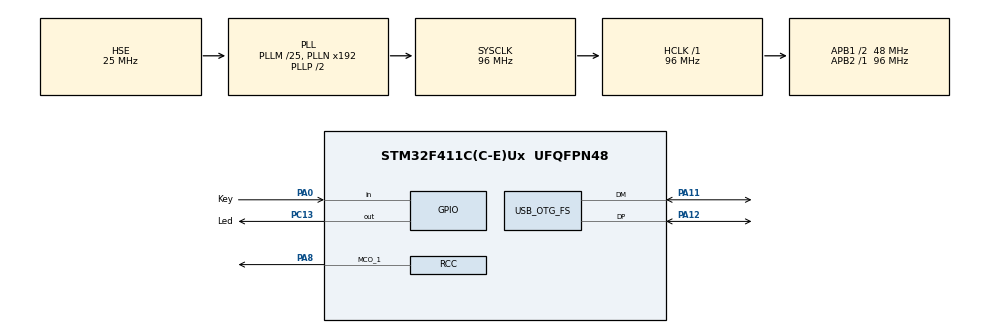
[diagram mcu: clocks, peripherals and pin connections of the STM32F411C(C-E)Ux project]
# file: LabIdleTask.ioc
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FREERTOS.Tasks01=defaultTask,0,128,StartDefaultTask,Default,NULL,Dynamic,NULL,NULL;Tarefa2,0,128,MostraContador,Default,NULL,Dynamic,NULL,NULL;Tarefa3,-1,128,MostraUnifor,Default,NULL,Dynamic,NULL,NULL
FREERTOS.configTICK_RATE_HZ=100
FREERTOS.configUSE_IDLE_HOOK=1
Mcu.Family=STM32F4
Mcu.Name=STM32F411C(C-E)Ux
Mcu.Package=UFQFPN48
NVIC.OTG_FS_IRQn=true\:5\:0\:false\:false\:true\:true\:false\:true
NVIC.PriorityGroup=NVIC_PRIORITYGROUP_4
NVIC.TIM1_TRG_COM_TIM11_IRQn=true\:0\:0\:false\:false\:true\:false\:false\:true
NVIC.TimeBase=TIM1_TRG_COM_TIM11_IRQn
NVIC.TimeBaseIP=TIM11
PA0-WKUP.GPIO_Label=Key
PA0-WKUP.GPIO_PuPd=GPIO_PULLUP
PA0-WKUP.Signal=GPIO_Input
PA11.Mode=Device_Only
PA11.Signal=USB_OTG_FS_DM
PA12.Mode=Device_Only
PA12.Signal=USB_OTG_FS_DP
PA13.Mode=Serial_Wire
PA13.Signal=SYS_JTMS-SWDIO
PA14.Mode=Serial_Wire
PA14.Signal=SYS_JTCK-SWCLK
PA8.Mode=Clock-out-1
PA8.Signal=RCC_MCO_1
PC13-ANTI_TAMP.GPIO_Label=Led
PC13-ANTI_TAMP.PinState=GPIO_PIN_SET
PC13-ANTI_TAMP.Signal=GPIO_Output
PC14-OSC32_IN.Mode=LSE-External-Oscillator
PC14-OSC32_IN.Signal=RCC_OSC32_IN
PC15-OSC32_OUT.Mode=LSE-External-Oscillator
PC15-OSC32_OUT.Signal=RCC_OSC32_OUT
PH0\ -\ OSC_IN.Mode=HSE-External-Oscillator
PH0\ -\ OSC_IN.Signal=RCC_OSC_IN
PH1\ -\ OSC_OUT.Mode=HSE-External-Oscillator
PH1\ -\ OSC_OUT.Signal=RCC_OSC_OUT
ProjectManager.HeapSize=0x800
ProjectManager.StackSize=0x400
ProjectManager.TargetToolchain=MDK-ARM V5.27
RCC.48MHZClocksFreq_Value=48000000
RCC.AHBFreq_Value=96000000
RCC.APB1CLKDivider=RCC_HCLK_DIV2
RCC.APB1Freq_Value=48000000
RCC.APB1TimFreq_Value=96000000
RCC.APB2Freq_Value=96000000
RCC.APB2TimFreq_Value=96000000
RCC.CortexFreq_Value=96000000
RCC.HCLKFreq_Value=96000000
RCC.HSE_VALUE=25000000
RCC.HSI_VALUE=16000000
RCC.PLLM=25
RCC.SYSCLKFreq_VALUE=96000000
RCC.SYSCLKSource=RCC_SYSCLKSOURCE_PLLCLK
RCC.VCOOutputFreq_Value=192000000
USB_DEVICE.CLASS_NAME_FS=CDC
USB_DEVICE.VirtualMode=Cdc
USB_DEVICE.VirtualModeFS=Cdc_FS
USB_OTG_FS.VirtualMode=Device_Only
VP_FREERTOS_VS_CMSIS_V1.Mode=CMSIS_V1
VP_SYS_VS_tim11.Mode=TIM11
VP_USB_DEVICE_VS_USB_DEVICE_CDC_FS.Mode=CDC_FS
board=custom

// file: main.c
/* USER CODE BEGIN Header */
/**
  ******************************************************************************
  * @file           : main.c
  * @brief          : Main program body
  ******************************************************************************
  * @attention
  *
  * <h2><center>&copy; Copyright (c) 2021 STMicroelectronics.
  * All rights reserved.</center></h2>
  *
  * This software component is licensed by ST under Ultimate Liberty license
  * SLA0044, the "License"; You may not use this file except in compliance with
  * the License. You may obtain a copy of the License at:
  *                             www.st.com/SLA0044
  *
  ******************************************************************************
  */
/* USER CODE END Header */
#include "main.h"
#include "cmsis_os.h"
#include "usb_device.h"

/* USER CODE BEGIN Includes */
#include "usbd_cdc_if.h"
#include "cmsis_os.h"
/* USER CODE END Includes */

osThreadId defaultTaskHandle;
osThreadId Tarefa2Handle;
osThreadId Tarefa3Handle;
/* USER CODE BEGIN PV */
uint32_t count = 0;

/* USER CODE END PV */

void SystemClock_Config(void);
static void MX_GPIO_Init(void);
void StartDefaultTask(void const * argument);
void MostraContador(void const * argument);
void MostraUnifor(void const * argument);

int main(void)
{

  /* MCU Configuration--------------------------------------------------------*/

  /* Reset of all peripherals, Initializes the Flash interface and the Systick. */
  HAL_Init();

  /* Configure the system clock */
  SystemClock_Config();

  /* Initialize all configured peripherals */
  MX_GPIO_Init();

  /* Create the thread(s) */
  /* definition and creation of defaultTask */
  osThreadDef(defaultTask, StartDefaultTask, osPriorityNormal, 0, 128);
  defaultTaskHandle = osThreadCreate(osThread(defaultTask), NULL);

  /* definition and creation of Tarefa2 */
  osThreadDef(Tarefa2, MostraContador, osPriorityNormal, 0, 128);
  Tarefa2Handle = osThreadCreate(osThread(Tarefa2), NULL);

  /* definition and creation of Tarefa3 */
  osThreadDef(Tarefa3, MostraUnifor, osPriorityBelowNormal, 0, 128);
  Tarefa3Handle = osThreadCreate(osThread(Tarefa3), NULL);

  /* Start scheduler */
  osKernelStart();

  /* We should never get here as control is now taken by the scheduler */
  /* Infinite loop */
  while (1)
  {

  }
}

void SystemClock_Config(void)
{
  RCC_OscInitTypeDef RCC_OscInitStruct = {0};
  RCC_ClkInitTypeDef RCC_ClkInitStruct = {0};

  /** Configure the main internal regulator output voltage
  */
  __HAL_RCC_PWR_CLK_ENABLE();
  __HAL_PWR_VOLTAGESCALING_CONFIG(PWR_REGULATOR_VOLTAGE_SCALE1);
  /** Initializes the RCC Oscillators according to the specified parameters
  * in the RCC_OscInitTypeDef structure.
  */
  RCC_OscInitStruct.OscillatorType = RCC_OSCILLATORTYPE_HSI|RCC_OSCILLATORTYPE_HSE;
  RCC_OscInitStruct.HSEState = RCC_HSE_ON;
  RCC_OscInitStruct.HSIState = RCC_HSI_ON;
  RCC_OscInitStruct.HSICalibrationValue = RCC_HSICALIBRATION_DEFAULT;
  RCC_OscInitStruct.PLL.PLLState = RCC_PLL_ON;
  RCC_OscInitStruct.PLL.PLLSource = RCC_PLLSOURCE_HSE;
  RCC_OscInitStruct.PLL.PLLM = 25;
  RCC_OscInitStruct.PLL.PLLN = 192;
  RCC_OscInitStruct.PLL.PLLP = RCC_PLLP_DIV2;
  RCC_OscInitStruct.PLL.PLLQ = 4;
  if (HAL_RCC_OscConfig(&RCC_OscInitStruct) != HAL_OK)
  {
    Error_Handler();
  }
  /** Initializes the CPU, AHB and APB buses clocks
  */
  RCC_ClkInitStruct.ClockType = RCC_CLOCKTYPE_HCLK|RCC_CLOCKTYPE_SYSCLK
                              |RCC_CLOCKTYPE_PCLK1|RCC_CLOCKTYPE_PCLK2;
  RCC_ClkInitStruct.SYSCLKSource = RCC_SYSCLKSOURCE_PLLCLK;
  RCC_ClkInitStruct.AHBCLKDivider = RCC_SYSCLK_DIV1;
  RCC_ClkInitStruct.APB1CLKDivider = RCC_HCLK_DIV2;
  RCC_ClkInitStruct.APB2CLKDivider = RCC_HCLK_DIV1;

  if (HAL_RCC_ClockConfig(&RCC_ClkInitStruct, FLASH_LATENCY_3) != HAL_OK)
  {
    Error_Handler();
  }
  HAL_RCC_MCOConfig(RCC_MCO1, RCC_MCO1SOURCE_HSI, RCC_MCODIV_1);
}

static void MX_GPIO_Init(void)
{
  GPIO_InitTypeDef GPIO_InitStruct = {0};

  /* GPIO Ports Clock Enable */
  __HAL_RCC_GPIOC_CLK_ENABLE();
  __HAL_RCC_GPIOH_CLK_ENABLE();
  __HAL_RCC_GPIOA_CLK_ENABLE();

  /*Configure GPIO pin Output Level */
  HAL_GPIO_WritePin(Led_GPIO_Port, Led_Pin, GPIO_PIN_SET);

  /*Configure GPIO pin : Led_Pin */
  GPIO_InitStruct.Pin = Led_Pin;
  GPIO_InitStruct.Mode = GPIO_MODE_OUTPUT_PP;
  GPIO_InitStruct.Pull = GPIO_NOPULL;
  GPIO_InitStruct.Speed = GPIO_SPEED_FREQ_LOW;
  HAL_GPIO_Init(Led_GPIO_Port, &GPIO_InitStruct);

  /*Configure GPIO pin : Key_Pin */
  GPIO_InitStruct.Pin = Key_Pin;
  GPIO_InitStruct.Mode = GPIO_MODE_INPUT;
  GPIO_InitStruct.Pull = GPIO_PULLUP;
  HAL_GPIO_Init(Key_GPIO_Port, &GPIO_InitStruct);

  /*Configure GPIO pin : PA8 */
  GPIO_InitStruct.Pin = GPIO_PIN_8;
  GPIO_InitStruct.Mode = GPIO_MODE_AF_PP;
  GPIO_InitStruct.Pull = GPIO_NOPULL;
  GPIO_InitStruct.Speed = GPIO_SPEED_FREQ_LOW;
  GPIO_InitStruct.Alternate = GPIO_AF0_MCO;
  HAL_GPIO_Init(GPIOA, &GPIO_InitStruct);

}

/* USER CODE BEGIN 4 */
void vApplicationIdleHook( void )
{
		count++;
}

/* USER CODE END 4 */

void StartDefaultTask(void const * argument)
{
  /* init code for USB_DEVICE */
  MX_USB_DEVICE_Init();
  /* USER CODE BEGIN 5 */
  /* Infinite loop */
  for(;;)
  {
		HAL_GPIO_TogglePin(Led_GPIO_Port, Led_Pin);
    osDelay(250);
  }
  /* USER CODE END 5 */
}

void MostraContador(void const * argument)
{
  /* USER CODE BEGIN MostraContador */
	char string1[40];
  uint32_t count;
  /* Infinite loop */
  for(;;)
  {
		CDC_Transmit_FS((uint8_t *)string1, sprintf(string1,"Contador = %0X/n", count));
		for(count = 0; count < 0x7FFFFF; count++){}
		CDC_Transmit_FS((uint8_t *)string1, sprintf(string1,"Contador = %0X/n", count));
		for(count = 0; count < 0x7FFFFF; count++){}
		vTaskPrioritySet(Tarefa3Handle, 4);
  }
  /* USER CODE END MostraContador */
}

void MostraUnifor(void const * argument)
{
  /* USER CODE BEGIN MostraUnifor */
	uint8_t string2[20] = "Unifor 2021!\n";
	uint32_t count;
  /* Infinite loop */
  for(;;)
  {
		CDC_Transmit_FS(string2, sizeof(string2)-1);
		for(count = 0; count < 0x7FFFFF; count++){}
		CDC_Transmit_FS(string2, sizeof(string2)-1);
		for(count = 0; count < 0x7FFFFF; count++){}
		vTaskPrioritySet(NULL, 4);
  }
  /* USER CODE END MostraUnifor */
}

void HAL_TIM_PeriodElapsedCallback(TIM_HandleTypeDef *htim)
{
  if (htim->Instance == TIM11) {
    HAL_IncTick();
  }
}

void Error_Handler(void)
{
}

/************************ (C) COPYRIGHT STMicroelectronics *****END OF FILE****/
